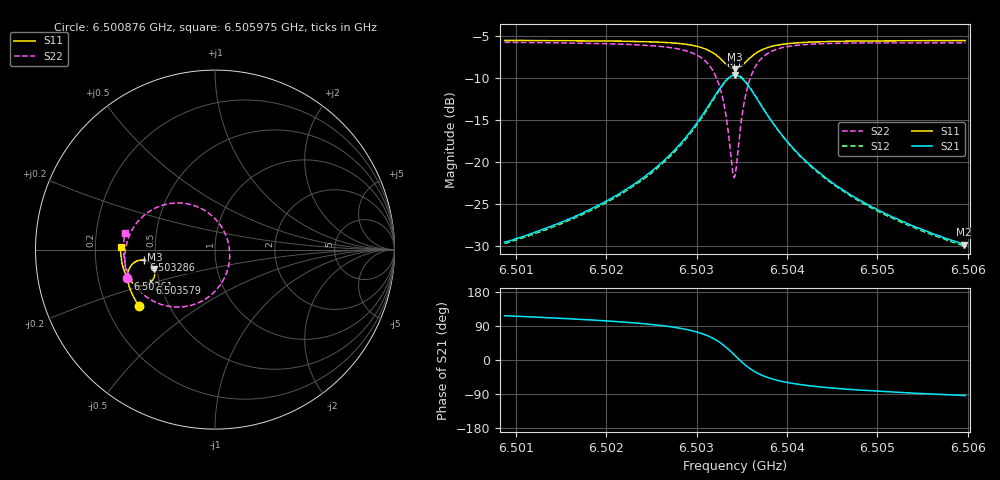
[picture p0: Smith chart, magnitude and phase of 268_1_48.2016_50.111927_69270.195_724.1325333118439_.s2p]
#  HZ  S  RI  R  50.00
! Rohde & Schwarz Vector Network Analyzer
! Rohde-Schwarz,ZNB20-2Port,1311601062101988,3.16
! Created: UTC 3/20/2024, 11:48:02 AM
! freq[Hz]  re:S11  im:S11  re:S21  im:S21  re:S12  im:S12  re:S22  im:S22
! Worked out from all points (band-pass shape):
!   401 points, 6.500876 GHz to 6.505975 GHz, reference 50 ohm
!   highest |S21| = -9.71 dB at 6.503426 GHz (marker M1); lowest = -29.9 dB at 6.505963 GHz (marker M2)
!   |S21| within 3 dB of the highest: 6.503171 GHz to 6.50368 GHz (509.7 kHz wide, 0.00784 % of centre)
!   lowest |S11| = -9.0 dB at 6.503426 GHz (marker M3), VSWR 2.10, Z = 24.3 - j6.01 ohm
!   |S11| at or under -10 dB: nowhere
!   |S22| runs from -21.9 to -5.8 dB; largest |S21 - S12| = 0.011
!   S11 on the Smith chart (normalised r, x): 6.500876 GHz: 0.34, -0.30; 6.50261 GHz: 0.33, -0.15; 6.503286 GHz: 0.43, -0.06; 6.503579 GHz: 0.44, -0.20; 6.505975 GHz: 0.31, +0.01
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6.5008764e9  -0.4228 -0.3138  -0.015 0.0296  -0.0134 0.0296  -0.4878 -0.161
6.5017305e9  -0.46 -0.2515  -0.0143 0.047  -0.0121 0.0466  -0.5022 -0.0712
6.5021512e9  -0.4752 -0.2149  -0.0121 0.0635  -0.00921 0.0626  -0.5007 -0.0132
6.5025846e9  -0.4862 -0.1682  -0.0026 0.0953  0.000932 0.0931  -0.4809 0.0699
6.5026101e9  -0.4865 -0.1649  -0.00157 0.0981  0.00212 0.0958  -0.4784 0.0763
6.5028522e9  -0.4851 -0.1293  0.0178 0.1322  0.0216 0.1282  -0.4375 0.147
6.5030307e9  -0.4724 -0.0956  0.055 0.1689  0.0582 0.1635  -0.3648 0.2139
6.5031837e9  -0.4389 -0.0653  0.129 0.1993  0.1303 0.193  -0.2289 0.2592
6.5032856e9  -0.3962 -0.0586  0.2145 0.1902  0.2148 0.1847  -0.0803 0.2306
6.5033366e9  -0.3706 -0.0674  0.2627 0.1618  0.2637 0.1574  -0.000161 0.1725
6.5034004e9  -0.3441 -0.0939  0.3102 0.0981  0.3126 0.0931  0.0709 0.05
6.5034259e9  -0.3378 -0.1083  0.3201 0.066  0.3232 0.0602  0.0815 -0.00995
6.5035151e9  -0.3423 -0.1609  0.3052 -0.0446  0.3072 -0.0546  0.0235 -0.2046
6.5035788e9  -0.3634 -0.1864  0.2626 -0.0983  0.2613 -0.1094  -0.0727 -0.2866
6.5036808e9  -0.4026 -0.2014  0.1884 -0.134  0.183 -0.1434  -0.2217 -0.3199
6.5038465e9  -0.4484 -0.1916  0.1075 -0.1308  0.1006 -0.1357  -0.3674 -0.2733
6.504025e9  -0.4757 -0.1703  0.0634 -0.1109  0.0572 -0.1132  -0.4389 -0.2087
6.5042799e9  -0.4962 -0.1403  0.0337 -0.0868  0.0289 -0.0873  -0.4818 -0.137
6.5046623e9  -0.5117 -0.1007  0.0148 -0.0638  0.0115 -0.0635  -0.504 -0.0621
6.505134e9  -0.5212 -0.0573  0.00488 -0.0475  0.00275 -0.0469  -0.5099 0.00347
6.5059625e9  -0.5259 0.0126  -0.00198 -0.032  -0.00327 -0.0313  -0.5022 0.0905
6.5059753e9  -0.5259 0.0136  -0.00211 -0.032  -0.00352 -0.0312  -0.5019 0.0915
